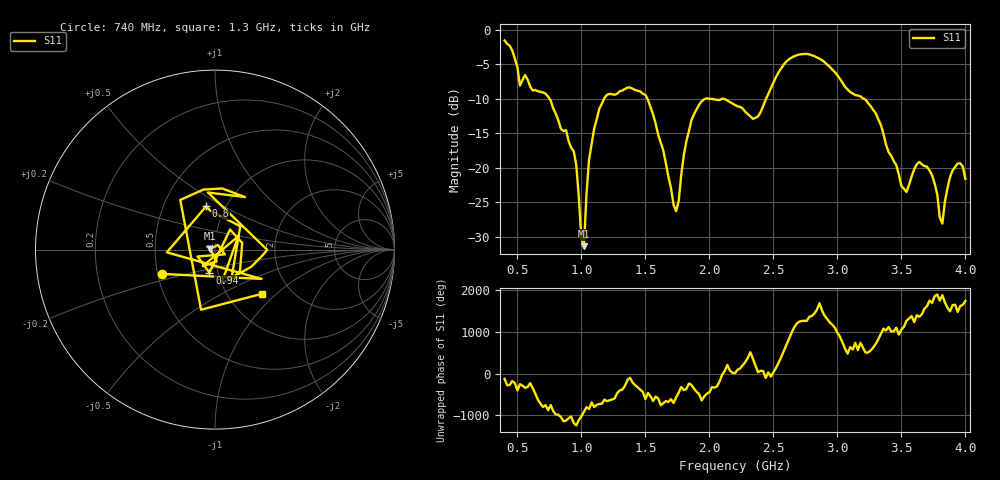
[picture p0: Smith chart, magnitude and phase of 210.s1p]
!Created with skrf (http://scikit-rf.org).
# Hz S RI R 50.0
!freq ReS11 ImS11
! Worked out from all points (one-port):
!   181 points, 400 MHz to 4 GHz, reference 50 ohm
!   lowest |S11| = -31.3 dB at 1.02 GHz (marker M1), VSWR 1.06, Z = 47.4 + j0.443 ohm
!   |S11| at or under -10 dB: 750.3 MHz to 1.177 GHz (426.9 MHz wide, 44.3 % of centre); 1.515 GHz to 1.971 GHz (455.9 MHz wide, 26.2 % of centre); 3.205 GHz to end of sweep (the widest 3 of 5)
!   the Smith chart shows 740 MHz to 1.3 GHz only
!   S11 on the Smith chart (normalised r, x): 740 MHz: 0.52, -0.16; 800 MHz: 0.81, +0.42; 940 MHz: 0.91, -0.24; 1.3 GHz: 1.43, -0.81
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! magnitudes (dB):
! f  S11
! 400 MHz  -1.6
! 520 MHz  -8.1
! 740 MHz  -9.7
! 800 MHz  -12.2
! 860 MHz  -14.7
! 940 MHz  -17.6
! 1 GHz  -30.3
! 1.02 GHz  -31.3
! 1.06 GHz  -18.8
! 1.1 GHz  -14.3
! 1.18 GHz  -9.9
! 1.3 GHz  -8.9
! 1.5 GHz  -9.4
! 1.72 GHz  -25.3
! 1.76 GHz  -24.8
! 1.82 GHz  -16.1
! 1.92 GHz  -10.9
! 2.2 GHz  -10.9
! 2.38 GHz  -12.6
! 2.66 GHz  -3.9
! 3.1 GHz  -9.0
! 3.3 GHz  -12.1
! 3.5 GHz  -22.6
! 3.56 GHz  -22.4
! 3.7 GHz  -19.8
! 3.82 GHz  -28.1
! 3.9 GHz  -20.4
! 4 GHz  -21.6
